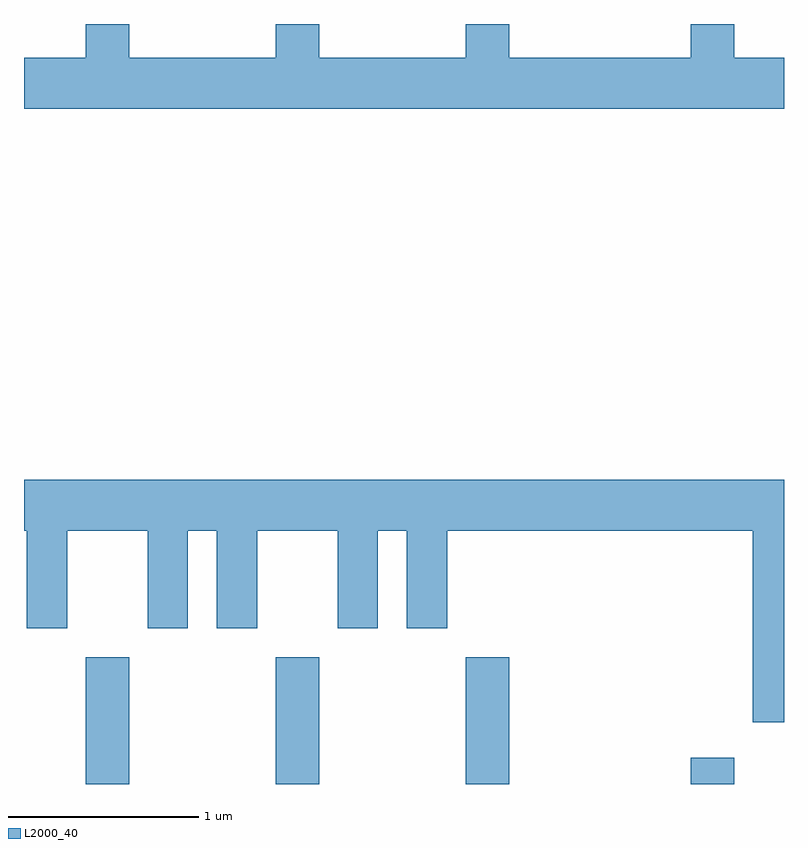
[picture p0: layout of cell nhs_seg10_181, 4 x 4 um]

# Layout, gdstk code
import gdstk
lib = gdstk.Library(unit=1e-6, precision=1e-09)
def R(c, l, rs):  # rectangles x0, y0, x1, y1
    for r in rs: c.add(gdstk.rectangle(r[:2], r[2:], *l))
def A(c, l, x, y, w, h, nx, ny, dx, dy):  # array of equal rectangles
    R(c, l, [(x+i*dx, y+j*dy, x+i*dx+w, y+j*dy+h) for i in range(nx) for j in range(ny)])
def P(c, l, *ps):  # polygons
    for p in ps: c.add(gdstk.Polygon(p, *l))
L2000_40 = (2000, 40)

nhs_seg10_181 = lib.new_cell('nhs_seg10_181')
A(nhs_seg10_181, L2000_40, 189.936, 2172.522, 0.228, 0.667, 3, 1, 1, 0)
R(nhs_seg10_181, L2000_40, [(193.121,2172.522,193.349,2172.659)])
P(nhs_seg10_181, L2000_40, [(193.611,2176.344),(193.349,2176.344),(193.349,2176.522),(193.121,2176.522),(193.121,2176.344),(192.164,2176.344),(192.164,2176.522),(191.936,2176.522),(191.936,2176.344),(191.164,2176.344),(191.164,2176.522),(190.936,2176.522),(190.936,2176.344),(190.164,2176.344),(190.164,2176.522),(189.936,2176.522),(189.936,2176.344),(189.611,2176.344),(189.611,2176.076),(193.611,2176.076)],
  [(193.611,2174.124),(189.611,2174.124),(189.611,2173.856),(189.626,2173.856),(189.626,2173.341),(189.839,2173.341),(189.839,2173.856),(190.261,2173.856),(190.261,2173.341),(190.474,2173.341),(190.474,2173.856),(190.626,2173.856),(190.626,2173.341),(190.839,2173.341),(190.839,2173.856),(191.261,2173.856),(191.261,2173.341),(191.474,2173.341),(191.474,2173.856),(191.626,2173.856),(191.626,2173.341),(191.839,2173.341),(191.839,2173.856),(193.446,2173.856),(193.446,2172.846),(193.611,2172.846)])

lib.write_gds('nhs_seg10_181.gds')
